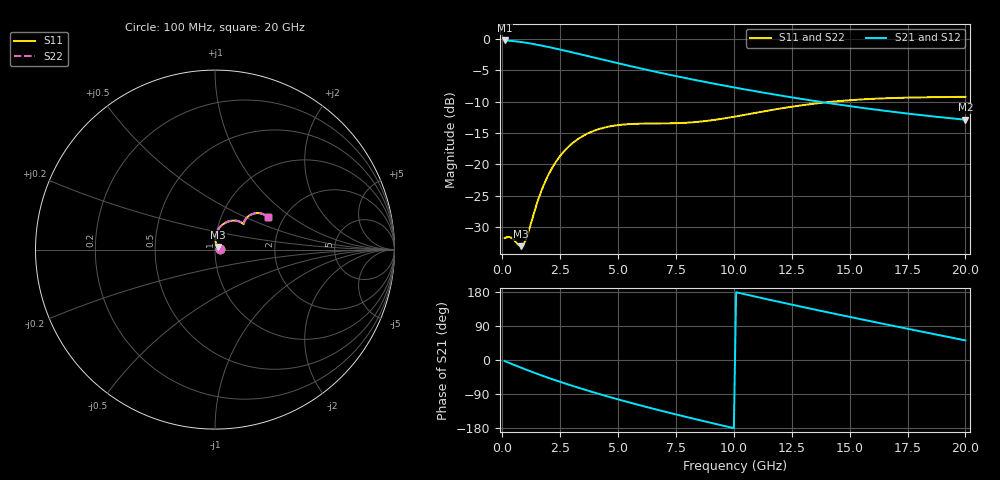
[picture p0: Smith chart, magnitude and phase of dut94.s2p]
! Touchstone file exported from HFSS 2024.1.0
!  File:  C:/UserFiles/LocalFiles/RDL_TSV_Batchsim/temp_RDL_TSV_94_1779417862.aedt
!  Generated:  11:01:09 AM May 22, 2026
!  Design:  RDL_TSV
!  Project:  temp_RDL_TSV_94_1779417862
!  Setup:  Setup1
!  Solution:  Sweep
! Variables:
!  dtsv = 14.33um
!  hbump = 3um
!  htsv = 71.22um
!  ldown = 612.93um
!  lrdl = 693.93um
!  p = 40
!  p1 = 43.88um
!  rhole = 10um
!  subl = 4614.51um
!  t = 450um
!  tdown = 2.16um
!  trdl = 4.45um
!  viad = 10um
!  wdown = 22.9um
!  wrdl = 17.09um
!  xbump = 18um
# GHz S MA R 50.000000
! Terminal data exported
! Port[1] = TM1_1_T1
! Port[2] = TM1_4_T1
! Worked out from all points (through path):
!   200 points, 100 MHz to 20 GHz, reference 50 ohm
!   highest |S21| = -0.23 dB at 100 MHz (marker M1); lowest = -12.9 dB at 20 GHz (marker M2)
!   group delay of S21, straight-line fit = 40.9 ps
!   lowest |S11| = -33.0 dB at 800 MHz (marker M3), VSWR 1.05, Z = 51.7 + j1.48 ohm
!   |S11| at or under -10 dB: start of sweep to 14.24 GHz
!   |S22| runs from -33.0 to -9.2 dB; largest |S21 - S12| = 1.8e-14
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0.1  0.02586 4.8  0.9736 -2.6  0.9736 -2.6  0.02586 4.8
! Gamma 0 0 0 0
! Port Impedance 50 0 50 0
0.4  0.026 14.3  0.9651 -10.3  0.9651 -10.3  0.02598 14.4
0.8  0.02231 40.0  0.9466 -20.1  0.9466 -20.1  0.02229 40.2
0.9  0.02281 50.7  0.941 -22.5  0.941 -22.5  0.02282 51.0
1  0.02461 61.3  0.935 -24.8  0.935 -24.8  0.02465 61.6
1.6  0.05558 88.1  0.8935 -38.6  0.8935 -38.6  0.05581 88.2
1.8  0.06926 88.2  0.8783 -43.0  0.8783 -43.0  0.06955 88.3
2.1  0.09018 85.7  0.855 -49.4  0.855 -49.4  0.09053 85.8
2.7  0.1292 77.5  0.8076 -61.7  0.8076 -61.7  0.1297 77.5
3.5  0.1694 65.9  0.7458 -77.2  0.7458 -77.2  0.17 65.9
4.3  0.1943 56.2  0.6876 -91.8  0.6876 -91.8  0.195 56.2
5.1  0.2069 48.9  0.6344 -105.6  0.6344 -105.6  0.2076 48.9
5.9  0.2112 44.3  0.5865 -118.8  0.5865 -118.8  0.212 44.2
6.8  0.2121 41.9  0.5389 -133.0  0.5389 -133.0  0.2128 41.8
7.5  0.2131 41.7  0.506 -143.6  0.506 -143.6  0.2138 41.6
8.3  0.2173 42.6  0.4722 -155.5  0.4722 -155.5  0.2179 42.4
10.1  0.2415 45.0  0.4082 178.7  0.4082 178.7  0.2419 44.9
11.7  0.273 44.6  0.3623 156.8  0.3623 156.8  0.2731 44.5
13.4  0.3041 41.9  0.3224 134.3  0.3224 134.3  0.3041 41.8
15  0.325 38.4  0.2916 113.7  0.2916 113.7  0.325 38.4
16.7  0.3377 35.0  0.2651 92.4  0.2651 92.4  0.3375 35.0
20  0.3459 31.5  0.2272 51.7  0.2272 51.7  0.3457 31.6
